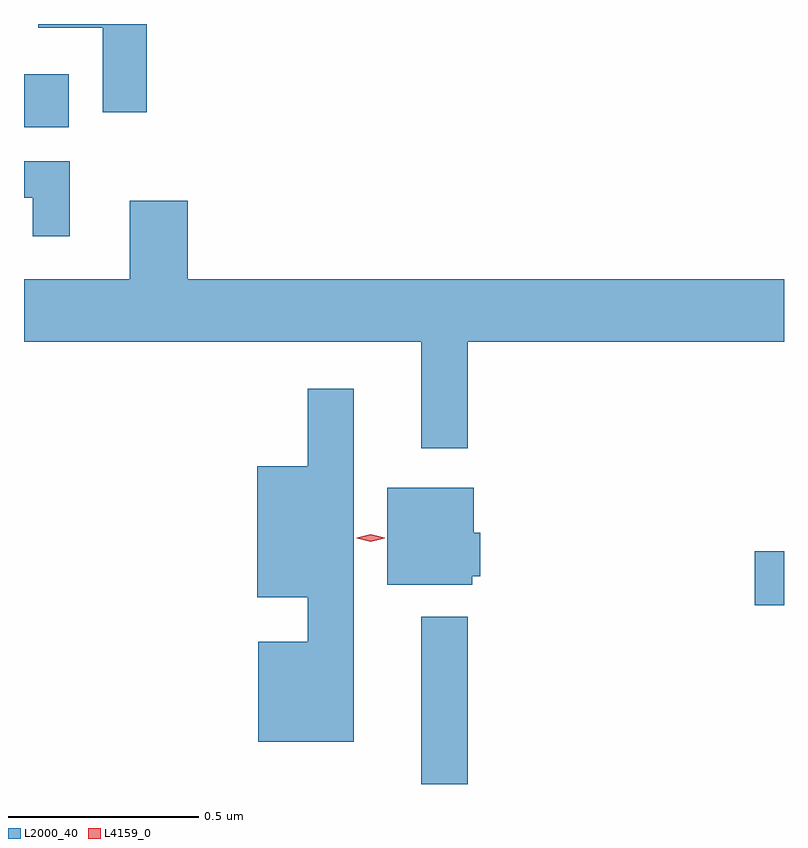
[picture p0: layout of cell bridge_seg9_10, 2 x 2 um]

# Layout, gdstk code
import gdstk
lib = gdstk.Library(unit=1e-6, precision=1e-09)
def R(c, l, rs):  # rectangles x0, y0, x1, y1
    for r in rs: c.add(gdstk.rectangle(r[:2], r[2:], *l))
def P(c, l, *ps):  # polygons
    for p in ps: c.add(gdstk.Polygon(p, *l))
L2000_40 = (2000, 40)
L4159_0 = (4159, 0)

bridge_seg9_10 = lib.new_cell('bridge_seg9_10')
R(bridge_seg9_10, L2000_40, [(1011.389,1233.884,1011.511,1234.324), (1012.266,1234.354,1012.343,1234.496), (1010.343,1235.612,1010.461,1235.752)])
P(bridge_seg9_10, L2000_40, [(1010.666,1235.884),(1010.381,1235.884),(1010.381,1235.874),(1010.55,1235.874),(1010.55,1235.652),(1010.666,1235.652)],
  [(1010.464,1235.523),(1010.343,1235.523),(1010.343,1235.427),(1010.366,1235.427),(1010.366,1235.325),(1010.464,1235.325)],
  [(1011.511,1235.048),(1012.343,1235.048),(1012.343,1235.212),(1010.774,1235.212),(1010.774,1235.419),(1010.621,1235.419),(1010.621,1235.212),(1010.343,1235.212),(1010.343,1235.048),(1011.389,1235.048),(1011.389,1234.767),(1011.511,1234.767)],
  [(1011.211,1234.924),(1011.09,1234.924),(1011.09,1234.72),(1010.957,1234.72),(1010.957,1234.376),(1011.09,1234.376),(1011.09,1234.258),(1010.96,1234.258),(1010.96,1233.995),(1011.211,1233.995)],
  [(1011.522,1234.431),(1011.544,1234.431),(1011.544,1234.545),(1011.526,1234.545),(1011.526,1234.663),(1011.299,1234.663),(1011.299,1234.409),(1011.522,1234.409)])
P(bridge_seg9_10, L4159_0, [(1011.256,1234.521),(1011.219,1234.531),(1011.219,1234.531),(1011.219,1234.532),(1011.256,1234.541),(1011.292,1234.532),(1011.292,1234.531),(1011.292,1234.531)])

lib.write_gds('bridge_seg9_10.gds')
